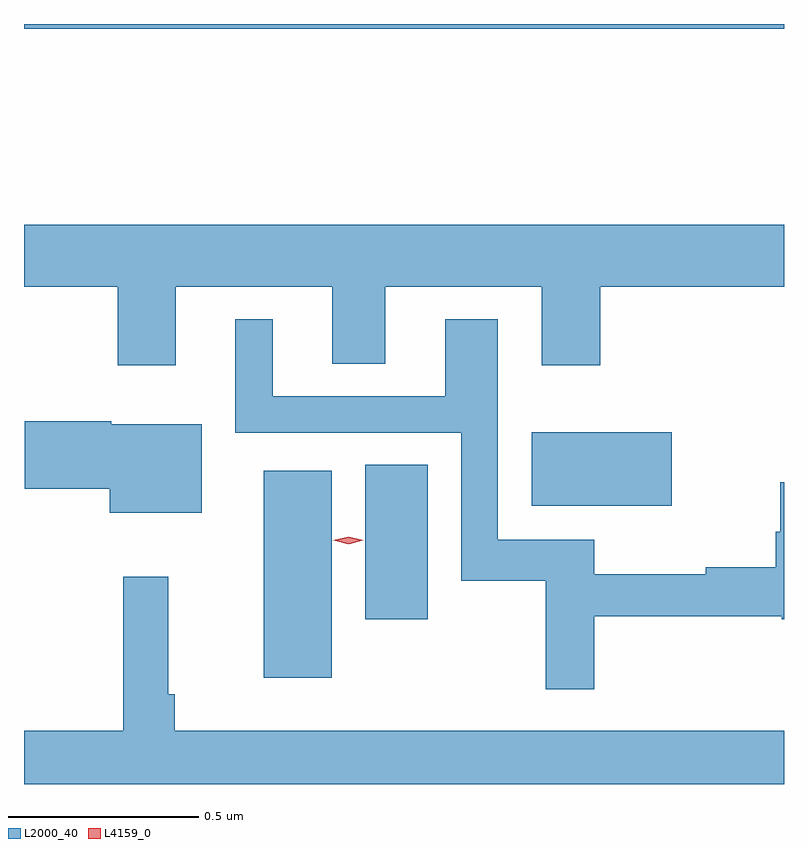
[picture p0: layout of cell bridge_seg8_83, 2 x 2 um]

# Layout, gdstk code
import gdstk
lib = gdstk.Library(unit=1e-6, precision=1e-09)
def R(c, l, rs):  # rectangles x0, y0, x1, y1
    for r in rs: c.add(gdstk.rectangle(r[:2], r[2:], *l))
def P(c, l, *ps):  # polygons
    for p in ps: c.add(gdstk.Polygon(p, *l))
L2000_40 = (2000, 40)
L4159_0 = (4159, 0)

bridge_seg8_83 = lib.new_cell('bridge_seg8_83')
R(bridge_seg8_83, L2000_40, [(759.167,1130.123,759.346,1130.668), (759.434,1130.277,759.598,1130.684), (759.872,1130.576,760.24,1130.77), (758.536,1131.832,760.536,1131.844)])
P(bridge_seg8_83, L2000_40, [(758.536,1131.152),(758.783,1131.152),(758.783,1130.946),(758.935,1130.946),(758.935,1131.152),(759.347,1131.152),(759.347,1130.95),(759.487,1130.95),(759.487,1131.152),(759.899,1131.152),(759.899,1130.946),(760.052,1130.946),(760.052,1131.152),(760.536,1131.152),(760.536,1131.316),(758.536,1131.316)],
  [(760.037,1130.286),(760.53,1130.286),(760.53,1130.278),(760.536,1130.278),(760.536,1130.638),(760.526,1130.638),(760.526,1130.508),(760.514,1130.508),(760.514,1130.414),(760.33,1130.414),(760.33,1130.396),(760.037,1130.396),(760.037,1130.487),(759.783,1130.487),(759.783,1131.067),(759.644,1131.067),(759.644,1130.865),(759.19,1130.865),(759.19,1131.067),(759.092,1131.067),(759.092,1130.769),(759.687,1130.769),(759.687,1130.379),(759.909,1130.379),(759.909,1130.094),(760.037,1130.094)],
  [(759.004,1130.791),(758.766,1130.791),(758.766,1130.799),(758.538,1130.799),(758.538,1130.621),(758.762,1130.621),(758.762,1130.558),(759.004,1130.558)],
  [(760.536,1129.984),(758.933,1129.984),(758.933,1130.08),(758.916,1130.08),(758.916,1130.389),(758.797,1130.389),(758.797,1129.984),(758.536,1129.984),(758.536,1129.844),(760.536,1129.844)])
P(bridge_seg8_83, L4159_0, [(759.39,1130.475),(759.35,1130.485),(759.35,1130.485),(759.35,1130.485),(759.39,1130.495),(759.429,1130.485),(759.429,1130.485),(759.429,1130.485)])

lib.write_gds('bridge_seg8_83.gds')
